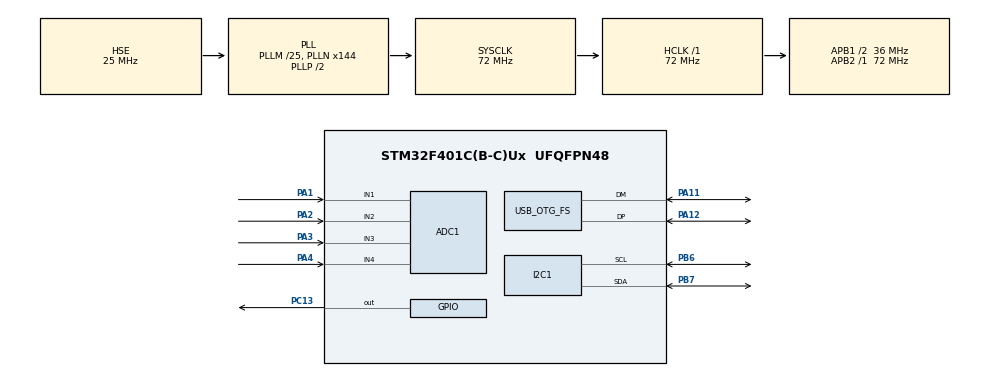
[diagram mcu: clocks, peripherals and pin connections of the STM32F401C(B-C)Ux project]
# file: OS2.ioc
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ADC1.Channel-0\#ChannelRegularConversion=ADC_CHANNEL_4
ADC1.Channel-1\#ChannelRegularConversion=ADC_CHANNEL_1
ADC1.Channel-2\#ChannelRegularConversion=ADC_CHANNEL_2
ADC1.Channel-3\#ChannelRegularConversion=ADC_CHANNEL_3
ADC1.ContinuousConvMode=ENABLE
ADC1.DMAContinuousRequests=ENABLE
ADC1.NbrOfConversion=4
ADC1.NbrOfConversionFlag=1
ADC1.Rank-0\#ChannelRegularConversion=1
ADC1.Rank-1\#ChannelRegularConversion=2
ADC1.Rank-2\#ChannelRegularConversion=3
ADC1.Rank-3\#ChannelRegularConversion=4
ADC1.SamplingTime-0\#ChannelRegularConversion=ADC_SAMPLETIME_28CYCLES
ADC1.SamplingTime-1\#ChannelRegularConversion=ADC_SAMPLETIME_28CYCLES
ADC1.SamplingTime-2\#ChannelRegularConversion=ADC_SAMPLETIME_28CYCLES
ADC1.SamplingTime-3\#ChannelRegularConversion=ADC_SAMPLETIME_28CYCLES
ADC1.ScanConvMode=ENABLE
ADC1.master=1
Dma.ADC1.0.Direction=DMA_PERIPH_TO_MEMORY
Dma.ADC1.0.FIFOMode=DMA_FIFOMODE_DISABLE
Dma.ADC1.0.Instance=DMA2_Stream0
Dma.ADC1.0.MemDataAlignment=DMA_MDATAALIGN_HALFWORD
Dma.ADC1.0.MemInc=DMA_MINC_ENABLE
Dma.ADC1.0.Mode=DMA_CIRCULAR
Dma.ADC1.0.PeriphDataAlignment=DMA_PDATAALIGN_HALFWORD
Dma.ADC1.0.PeriphInc=DMA_PINC_DISABLE
Dma.ADC1.0.Priority=DMA_PRIORITY_HIGH
Dma.Request0=ADC1
FREERTOS.Tasks01=defaultTask,24,128,StartDefaultTask,Default,NULL,Dynamic,NULL,NULL;Task1,8,128,task1,Default,NULL,Dynamic,NULL,NULL;Task2,8,128,task2,Default,NULL,Dynamic,NULL,NULL
I2C1.I2C_Mode=I2C_Fast
Mcu.Family=STM32F4
Mcu.Name=STM32F401C(B-C)Ux
Mcu.Package=UFQFPN48
NVIC.DMA2_Stream0_IRQn=true\:5\:0\:false\:false\:true\:true\:false\:true\:true
NVIC.OTG_FS_IRQn=true\:5\:0\:false\:false\:true\:true\:false\:true\:true
NVIC.PriorityGroup=NVIC_PRIORITYGROUP_4
NVIC.TIM3_IRQn=true\:15\:0\:false\:false\:true\:false\:false\:true\:true
NVIC.TimeBase=TIM3_IRQn
NVIC.TimeBaseIP=TIM3
PA1.Signal=ADCx_IN1
PA11.Mode=Device_Only
PA11.Signal=USB_OTG_FS_DM
PA12.Mode=Device_Only
PA12.Signal=USB_OTG_FS_DP
PA2.Signal=ADCx_IN2
PA3.Signal=ADCx_IN3
PA4.Signal=ADCx_IN4
PB6.Mode=I2C
PB6.Signal=I2C1_SCL
PB7.Mode=I2C
PB7.Signal=I2C1_SDA
PC13-ANTI_TAMP.Signal=GPIO_Output
PH0\ -\ OSC_IN.Mode=HSE-External-Oscillator
PH0\ -\ OSC_IN.Signal=RCC_OSC_IN
PH1\ -\ OSC_OUT.Mode=HSE-External-Oscillator
PH1\ -\ OSC_OUT.Signal=RCC_OSC_OUT
ProjectManager.HeapSize=0x200
ProjectManager.StackSize=0x400
ProjectManager.TargetToolchain=STM32CubeIDE
RCC.48MHZClocksFreq_Value=48000000
RCC.AHBFreq_Value=72000000
RCC.APB1CLKDivider=RCC_HCLK_DIV2
RCC.APB1Freq_Value=36000000
RCC.APB1TimFreq_Value=72000000
RCC.APB2Freq_Value=72000000
RCC.APB2TimFreq_Value=72000000
RCC.CortexFreq_Value=72000000
RCC.HCLKFreq_Value=72000000
RCC.HSE_VALUE=25000000
RCC.HSI_VALUE=16000000
RCC.LSE_VALUE=32768
RCC.PLLM=25
RCC.PLLN=144
RCC.PLLQ=3
RCC.SYSCLKFreq_VALUE=72000000
RCC.SYSCLKSource=RCC_SYSCLKSOURCE_PLLCLK
RCC.VCOOutputFreq_Value=144000000
SH.ADCx_IN1.0=ADC1_IN1,IN1
SH.ADCx_IN2.0=ADC1_IN2,IN2
SH.ADCx_IN3.0=ADC1_IN3,IN3
SH.ADCx_IN4.0=ADC1_IN4,IN4
USB_DEVICE.CLASS_NAME_FS=CDC
USB_DEVICE.VirtualMode=Cdc
USB_DEVICE.VirtualModeFS=Cdc_FS
USB_OTG_FS.VirtualMode=Device_Only
VP_FREERTOS_VS_CMSIS_V2.Mode=CMSIS_V2
VP_SYS_VS_tim3.Mode=TIM3
VP_USB_DEVICE_VS_USB_DEVICE_CDC_FS.Mode=CDC_FS
board=custom

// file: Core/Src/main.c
/* USER CODE BEGIN Header */
/**
  ******************************************************************************
  * @file           : main.c
  * @brief          : Main program body
  ******************************************************************************
  * @attention
  *
  * Copyright (c) 2026 STMicroelectronics.
  * All rights reserved.
  *
  * This software is licensed under terms that can be found in the LICENSE file
  * in the root directory of this software component.
  * If no LICENSE file comes with this software, it is provided AS-IS.
  *
  ******************************************************************************
  */
/* USER CODE END Header */
#include "main.h"
#include "cmsis_os.h"
#include "usb_device.h"

/* USER CODE BEGIN Includes */
#include "usbd_cdc_if.h"
#include "fonts.h"
#include "ssd1306.h"
/* USER CODE END Includes */

/* USER CODE BEGIN PTD */
uint16_t         adc_values[4];
volatile uint8_t dma_complete = 0;
volatile uint8_t dma_error    = 0;

/* USER CODE END PTD */

ADC_HandleTypeDef hadc1;
DMA_HandleTypeDef hdma_adc1;

I2C_HandleTypeDef hi2c1;

/* Definitions for defaultTask */
osThreadId_t defaultTaskHandle;
const osThreadAttr_t defaultTask_attributes = {
  .name = "defaultTask",
  .stack_size = 128 * 4,
  .priority = (osPriority_t) osPriorityNormal,
};
/* Definitions for Task1 */
osThreadId_t Task1Handle;
const osThreadAttr_t Task1_attributes = {
  .name = "Task1",
  .stack_size = 128 * 4,
  .priority = (osPriority_t) osPriorityLow,
};
/* Definitions for Task2 */
osThreadId_t Task2Handle;
const osThreadAttr_t Task2_attributes = {
  .name = "Task2",
  .stack_size = 128 * 4,
  .priority = (osPriority_t) osPriorityLow,
};

void SystemClock_Config(void);
static void MX_GPIO_Init(void);
static void MX_DMA_Init(void);
static void MX_ADC1_Init(void);
static void MX_I2C1_Init(void);
void StartDefaultTask(void *argument);
void task1(void *argument);
void task2(void *argument);

/* USER CODE BEGIN PFP */
void print(const char *msg)
{
	 uint32_t start = HAL_GetTick();
	while(CDC_Transmit_FS((uint8_t *)msg,strlen(msg)) ==USBD_BUSY)
	{
		 if ((HAL_GetTick() - start) >= 500)
		        {
		            return;   // Bypass USB after 500 ms
		        }
		osDelay(1);
	}
}
/* USER CODE END PFP */

/* USER CODE BEGIN 0 */
void HAL_ADC_ConvCpltCallback(ADC_HandleTypeDef *hadc)
{
   if (hadc->Instance == ADC1) dma_complete = 1;
}

void HAL_ADC_ErrorCallback(ADC_HandleTypeDef *hadc)
{
   if (hadc->Instance == ADC1) dma_error = 1;
}
char msg[256];
/* USER CODE END 0 */

int main(void)
{

  /* MCU Configuration--------------------------------------------------------*/

  /* Reset of all peripherals, Initializes the Flash interface and the Systick. */
  HAL_Init();

  /* Configure the system clock */
  SystemClock_Config();

  /* Initialize all configured peripherals */
  MX_GPIO_Init();
  MX_DMA_Init();
  MX_ADC1_Init();
  MX_I2C1_Init();
  /* USER CODE BEGIN 2 */
//  ssd1306_Init(&hi2c1);
//
//  	       ssd1306_Fill(Black);
//
//  	       ssd1306_SetCursor(0, 10);
//  	           ssd1306_WriteString("Manjit ", Font_11x18, White);
//
//  	       ssd1306_UpdateScreen(&hi2c1);
  /* USER CODE END 2 */

  /* Init scheduler */
  osKernelInitialize();

  /* Create the thread(s) */
  /* creation of defaultTask */
  defaultTaskHandle = osThreadNew(StartDefaultTask, NULL, &defaultTask_attributes);

  /* creation of Task1 */
  Task1Handle = osThreadNew(task1, NULL, &Task1_attributes);

  /* creation of Task2 */
  Task2Handle = osThreadNew(task2, NULL, &Task2_attributes);

  /* Start scheduler */
  osKernelStart();

  /* We should never get here as control is now taken by the scheduler */

  /* Infinite loop */
  while (1)
  {

  }
}

void SystemClock_Config(void)
{
  RCC_OscInitTypeDef RCC_OscInitStruct = {0};
  RCC_ClkInitTypeDef RCC_ClkInitStruct = {0};

  /** Configure the main internal regulator output voltage
  */
  __HAL_RCC_PWR_CLK_ENABLE();
  __HAL_PWR_VOLTAGESCALING_CONFIG(PWR_REGULATOR_VOLTAGE_SCALE2);

  /** Initializes the RCC Oscillators according to the specified parameters
  * in the RCC_OscInitTypeDef structure.
  */
  RCC_OscInitStruct.OscillatorType = RCC_OSCILLATORTYPE_HSE;
  RCC_OscInitStruct.HSEState = RCC_HSE_ON;
  RCC_OscInitStruct.PLL.PLLState = RCC_PLL_ON;
  RCC_OscInitStruct.PLL.PLLSource = RCC_PLLSOURCE_HSE;
  RCC_OscInitStruct.PLL.PLLM = 25;
  RCC_OscInitStruct.PLL.PLLN = 144;
  RCC_OscInitStruct.PLL.PLLP = RCC_PLLP_DIV2;
  RCC_OscInitStruct.PLL.PLLQ = 3;
  if (HAL_RCC_OscConfig(&RCC_OscInitStruct) != HAL_OK)
  {
    Error_Handler();
  }

  /** Initializes the CPU, AHB and APB buses clocks
  */
  RCC_ClkInitStruct.ClockType = RCC_CLOCKTYPE_HCLK|RCC_CLOCKTYPE_SYSCLK
                              |RCC_CLOCKTYPE_PCLK1|RCC_CLOCKTYPE_PCLK2;
  RCC_ClkInitStruct.SYSCLKSource = RCC_SYSCLKSOURCE_PLLCLK;
  RCC_ClkInitStruct.AHBCLKDivider = RCC_SYSCLK_DIV1;
  RCC_ClkInitStruct.APB1CLKDivider = RCC_HCLK_DIV2;
  RCC_ClkInitStruct.APB2CLKDivider = RCC_HCLK_DIV1;

  if (HAL_RCC_ClockConfig(&RCC_ClkInitStruct, FLASH_LATENCY_2) != HAL_OK)
  {
    Error_Handler();
  }
}

static void MX_ADC1_Init(void)
{

  ADC_ChannelConfTypeDef sConfig = {0};

  /** Configure the global features of the ADC (Clock, Resolution, Data Alignment and number of conversion)
  */
  hadc1.Instance = ADC1;
  hadc1.Init.ClockPrescaler = ADC_CLOCK_SYNC_PCLK_DIV2;
  hadc1.Init.Resolution = ADC_RESOLUTION_12B;
  hadc1.Init.ScanConvMode = ENABLE;
  hadc1.Init.ContinuousConvMode = ENABLE;
  hadc1.Init.DiscontinuousConvMode = DISABLE;
  hadc1.Init.ExternalTrigConvEdge = ADC_EXTERNALTRIGCONVEDGE_NONE;
  hadc1.Init.ExternalTrigConv = ADC_SOFTWARE_START;
  hadc1.Init.DataAlign = ADC_DATAALIGN_RIGHT;
  hadc1.Init.NbrOfConversion = 4;
  hadc1.Init.DMAContinuousRequests = ENABLE;
  hadc1.Init.EOCSelection = ADC_EOC_SINGLE_CONV;
  if (HAL_ADC_Init(&hadc1) != HAL_OK)
  {
    Error_Handler();
  }

  /** Configure for the selected ADC regular channel its corresponding rank in the sequencer and its sample time.
  */
  sConfig.Channel = ADC_CHANNEL_4;
  sConfig.Rank = 1;
  sConfig.SamplingTime = ADC_SAMPLETIME_28CYCLES;
  if (HAL_ADC_ConfigChannel(&hadc1, &sConfig) != HAL_OK)
  {
    Error_Handler();
  }

  /** Configure for the selected ADC regular channel its corresponding rank in the sequencer and its sample time.
  */
  sConfig.Channel = ADC_CHANNEL_1;
  sConfig.Rank = 2;
  if (HAL_ADC_ConfigChannel(&hadc1, &sConfig) != HAL_OK)
  {
    Error_Handler();
  }

  /** Configure for the selected ADC regular channel its corresponding rank in the sequencer and its sample time.
  */
  sConfig.Channel = ADC_CHANNEL_2;
  sConfig.Rank = 3;
  if (HAL_ADC_ConfigChannel(&hadc1, &sConfig) != HAL_OK)
  {
    Error_Handler();
  }

  /** Configure for the selected ADC regular channel its corresponding rank in the sequencer and its sample time.
  */
  sConfig.Channel = ADC_CHANNEL_3;
  sConfig.Rank = 4;
  if (HAL_ADC_ConfigChannel(&hadc1, &sConfig) != HAL_OK)
  {
    Error_Handler();
  }

}

static void MX_I2C1_Init(void)
{

  hi2c1.Instance = I2C1;
  hi2c1.Init.ClockSpeed = 400000;
  hi2c1.Init.DutyCycle = I2C_DUTYCYCLE_2;
  hi2c1.Init.OwnAddress1 = 0;
  hi2c1.Init.AddressingMode = I2C_ADDRESSINGMODE_7BIT;
  hi2c1.Init.DualAddressMode = I2C_DUALADDRESS_DISABLE;
  hi2c1.Init.OwnAddress2 = 0;
  hi2c1.Init.GeneralCallMode = I2C_GENERALCALL_DISABLE;
  hi2c1.Init.NoStretchMode = I2C_NOSTRETCH_DISABLE;
  if (HAL_I2C_Init(&hi2c1) != HAL_OK)
  {
    Error_Handler();
  }

}

static void MX_DMA_Init(void)
{

  /* DMA controller clock enable */
  __HAL_RCC_DMA2_CLK_ENABLE();

  /* DMA interrupt init */
  /* DMA2_Stream0_IRQn interrupt configuration */
  HAL_NVIC_SetPriority(DMA2_Stream0_IRQn, 5, 0);
  //HAL_NVIC_EnableIRQ(DMA2_Stream0_IRQn);

}

static void MX_GPIO_Init(void)
{
  GPIO_InitTypeDef GPIO_InitStruct = {0};

  /* GPIO Ports Clock Enable */
  __HAL_RCC_GPIOC_CLK_ENABLE();
  __HAL_RCC_GPIOH_CLK_ENABLE();
  __HAL_RCC_GPIOA_CLK_ENABLE();
  __HAL_RCC_GPIOB_CLK_ENABLE();

  /*Configure GPIO pin Output Level */
  HAL_GPIO_WritePin(GPIOC, GPIO_PIN_13, GPIO_PIN_RESET);

  /*Configure GPIO pin : PC13 */
  GPIO_InitStruct.Pin = GPIO_PIN_13;
  GPIO_InitStruct.Mode = GPIO_MODE_OUTPUT_PP;
  GPIO_InitStruct.Pull = GPIO_NOPULL;
  GPIO_InitStruct.Speed = GPIO_SPEED_FREQ_LOW;
  HAL_GPIO_Init(GPIOC, &GPIO_InitStruct);

}

void StartDefaultTask(void *argument)
{
  /* init code for USB_DEVICE */
  MX_USB_DEVICE_Init();
  /* USER CODE BEGIN 5 */
  print("Hello this is Default task !! \r\n");
  if (HAL_ADC_Start_DMA(&hadc1, (uint32_t *)adc_values, 4) != HAL_OK) {
          print("ADC DMA Start Failed\r\n"); Error_Handler();
      }
  /* Infinite loop */
  for(;;)
  {

	  if(dma_complete)
	 	  {
	 		  dma_complete =0;
	 	  }
	 	  snprintf(msg,sizeof(msg),"ADC values : %3u | %3u | %3u | %3u | \r\n",adc_values[0],adc_values[1],adc_values[2],adc_values[3]);
	 	  print(msg);
    osDelay(1);
  }
  /* USER CODE END 5 */
}

void task1(void *argument)
{
  /* USER CODE BEGIN task1 */
	print("This is Task1 !!\r\n");
	 ssd1306_Init(&hi2c1);
     ssd1306_Fill(Black);

  	       ssd1306_SetCursor(0, 10);
  	           ssd1306_WriteString("Manjit ", Font_11x18, White);

  	       ssd1306_UpdateScreen(&hi2c1);

	      int count=0;
  /* Infinite loop */
  for(;;)
  {

	 // ssd1306_Fill(Black);
snprintf(msg,sizeof(msg),"%d ",count);
	          ssd1306_SetCursor(0, 40); ssd1306_WriteString(msg, Font_11x18, White);
	          //ssd1306_SetCursor(0, 40); ssd1306_WriteString(lon_str, Font_11x18, White);
	          ssd1306_UpdateScreen(&hi2c1);
	          count++;
	          if(count >= 100)
	          {
	        	  count=0;
	          }
    osDelay(500);
  }
  /* USER CODE END task1 */
}

void task2(void *argument)
{
  /* USER CODE BEGIN task2 */
	print("This is Task2 !!\r\n");
  /* Infinite loop */
  for(;;)
  {
	  HAL_GPIO_TogglePin(GPIOC, GPIO_PIN_13);
    osDelay(500);
  }
  /* USER CODE END task2 */
}

void HAL_TIM_PeriodElapsedCallback(TIM_HandleTypeDef *htim)
{
  if (htim->Instance == TIM3)
  {
    HAL_IncTick();
  }
}

void Error_Handler(void)
{
  __disable_irq();
  while (1)
  {
  }
}
